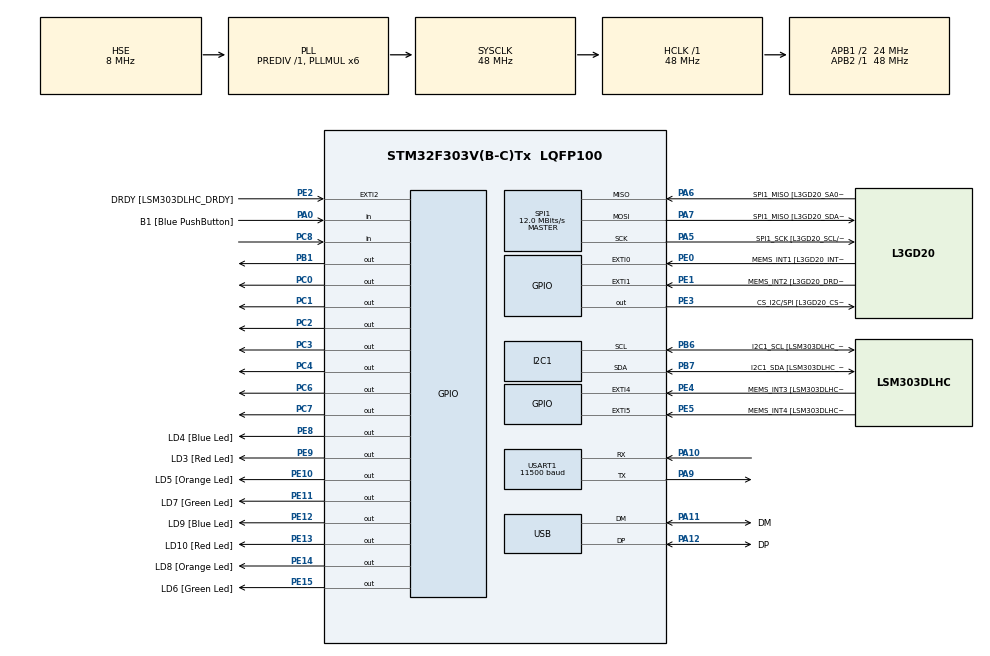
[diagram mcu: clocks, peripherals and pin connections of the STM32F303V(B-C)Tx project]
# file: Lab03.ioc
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I2C1.Timing=0x00201D2B
I2C1.Timing-I2C=0x2000090E
Mcu.Family=STM32F3
Mcu.Name=STM32F303V(B-C)Tx
Mcu.Package=LQFP100
NVIC.PriorityGroup=NVIC_PRIORITYGROUP_0
PA0.GPIO_Label=B1 [Blue PushButton]
PA0.Signal=GPIO_Input
PA10.Mode=Asynchronous
PA10.Signal=USART1_RX
PA11.GPIO_Label=DM
PA11.Mode=Device
PA11.Signal=USB_DM
PA12.GPIO_Label=DP
PA12.Mode=Device
PA12.Signal=USB_DP
PA13.GPIO_Label=SWDIO
PA13.Mode=Serial_Wire
PA13.Signal=SYS_JTMS-SWDIO
PA14.GPIO_Label=SWCLK
PA14.Mode=Serial_Wire
PA14.Signal=SYS_JTCK-SWCLK
PA5.GPIO_Label=SPI1_SCK [L3GD20_SCL/SPC]
PA5.Mode=Full_Duplex_Master
PA5.Signal=SPI1_SCK
PA6.GPIO_Label=SPI1_MISO [L3GD20_SA0/SDO]
PA6.Mode=Full_Duplex_Master
PA6.Signal=SPI1_MISO
PA7.GPIO_Label=SPI1_MISO [L3GD20_SDA/SDI/SDO]
PA7.Mode=Full_Duplex_Master
PA7.Signal=SPI1_MOSI
PA9.Mode=Asynchronous
PA9.Signal=USART1_TX
PB1.Signal=GPIO_Output
PB3.GPIO_Label=SWO
PB3.Signal=SYS_JTDO-TRACESWO
PB6.GPIO_Label=I2C1_SCL [LSM303DLHC_SCL]
PB6.GPIO_Pu=GPIO_PULLUP
PB6.Mode=I2C
PB6.Signal=I2C1_SCL
PB7.GPIO_Label=I2C1_SDA [LSM303DLHC_SDA]
PB7.GPIO_Pu=GPIO_PULLUP
PB7.Mode=I2C
PB7.Signal=I2C1_SDA
PC0.Signal=GPIO_Output
PC1.Signal=GPIO_Output
PC14-OSC32_IN.GPIO_Label=OSC32_IN
PC14-OSC32_IN.Signal=RCC_OSC32_IN
PC15-OSC32_OUT.GPIO_Label=OSC32_OUT
PC15-OSC32_OUT.Signal=RCC_OSC32_OUT
PC2.Signal=GPIO_Output
PC3.Signal=GPIO_Output
PC4.Signal=GPIO_Output
PC6.Signal=GPIO_Output
PC7.Signal=GPIO_Output
PC8.Signal=GPIO_Input
PE0.GPIO_Label=MEMS_INT1 [L3GD20_INT1]
PE0.GPIO_ModeDefaultEXTI=GPIO_MODE_EVT_RISING
PE0.Signal=GPXTI0
PE1.GPIO_Label=MEMS_INT2 [L3GD20_DRDY/INT2]
PE1.GPIO_ModeDefaultEXTI=GPIO_MODE_EVT_RISING
PE1.Signal=GPXTI1
PE10.GPIO_Label=LD5 [Orange Led]
PE10.Signal=GPIO_Output
PE11.GPIO_Label=LD7 [Green Led]
PE11.Signal=GPIO_Output
PE12.GPIO_Label=LD9 [Blue Led]
PE12.Signal=GPIO_Output
PE13.GPIO_Label=LD10 [Red Led]
PE13.Signal=GPIO_Output
PE14.GPIO_Label=LD8 [Orange Led]
PE14.Signal=GPIO_Output
PE15.GPIO_Label=LD6 [Green Led]
PE15.Signal=GPIO_Output
PE2.GPIO_Label=DRDY [LSM303DLHC_DRDY]
PE2.GPIO_ModeDefaultEXTI=GPIO_MODE_EVT_RISING
PE2.Signal=GPXTI2
PE3.GPIO_Label=CS_I2C/SPI [L3GD20_CS_I2C/SPI]
PE3.Signal=GPIO_Output
PE4.GPIO_Label=MEMS_INT3 [LSM303DLHC_INT1]
PE4.GPIO_ModeDefaultEXTI=GPIO_MODE_EVT_RISING
PE4.Signal=GPXTI4
PE5.GPIO_Label=MEMS_INT4 [LSM303DLHC_INT2]
PE5.GPIO_ModeDefaultEXTI=GPIO_MODE_EVT_RISING
PE5.Signal=GPXTI5
PE8.GPIO_Label=LD4 [Blue Led]
PE8.Signal=GPIO_Output
PE9.GPIO_Label=LD3 [Red Led]
PE9.Signal=GPIO_Output
PF0-OSC_IN.GPIO_Label=OSC_IN
PF0-OSC_IN.Mode=HSE-External-Clock-Source
PF0-OSC_IN.Signal=RCC_OSC_IN
PF1-OSC_OUT.GPIO_Label=OSC_OUT
PF1-OSC_OUT.Signal=RCC_OSC_OUT
ProjectManager.HeapSize=0x200
ProjectManager.StackSize=0x400
ProjectManager.TargetToolchain=CMake
RCC.AHBFreq_Value=48000000
RCC.APB1CLKDivider=RCC_HCLK_DIV2
RCC.APB1Freq_Value=24000000
RCC.APB1TimFreq_Value=48000000
RCC.APB2Freq_Value=48000000
RCC.APB2TimFreq_Value=48000000
RCC.CortexFreq_Value=48000000
RCC.HCLKFreq_Value=48000000
RCC.HSE_VALUE=8000000
RCC.HSI_VALUE=8000000
RCC.LSE_VALUE=32768
RCC.PLLMUL=RCC_PLL_MUL6
RCC.SYSCLKFreq_VALUE=48000000
RCC.SYSCLKSourceVirtual=RCC_SYSCLKSOURCE_PLLCLK
RCC.USBFreq_Value=48000000
SPI1.BaudRatePrescaler=SPI_BAUDRATEPRESCALER_4
SPI1.BaudRatePrescaler-Full_Duplex_Master=SPI_BAUDRATEPRESCALER_2
SPI1.CalculateBaudRate=12.0 MBits/s
SPI1.CalculateBaudRate-Full_Duplex_Master=24.0 MBits/s
SPI1.Direction=SPI_DIRECTION_2LINES
SPI1.Mode=SPI_MODE_MASTER
SPI1.Mode-Full_Duplex_Master=SPI_MODE_MASTER
SPI1.VirtualType=VM_MASTER
USART1.BaudRate=11500
USART1.VirtualMode-Asynchronous=VM_ASYNC
board=STM32F3DISCOVERY

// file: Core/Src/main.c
/* USER CODE BEGIN Header */
/**
  ******************************************************************************
  * @file           : main.c
  * @brief          : Main program body
  ******************************************************************************
  * @attention
  *
  * Copyright (c) 2026 STMicroelectronics.
  * All rights reserved.
  *
  * This software is licensed under terms that can be found in the LICENSE file
  * in the root directory of this software component.
  * If no LICENSE file comes with this software, it is provided AS-IS.
  *
  ******************************************************************************
  */
/* USER CODE END Header */
#include "main.h"
#include "stm32f303xc.h"
#include "stdlib.h"

I2C_HandleTypeDef hi2c1;

SPI_HandleTypeDef hspi1;

UART_HandleTypeDef huart1;

PCD_HandleTypeDef hpcd_USB_FS;

void SystemClock_Config(void);
static void MX_GPIO_Init(void);
static void MX_I2C1_Init(void);
static void MX_SPI1_Init(void);
static void MX_USB_PCD_Init(void);
static void MX_USART1_UART_Init(void);

/* USER CODE BEGIN 0 */
/* USER CODE BEGIN 0 */
/* USER CODE BEGIN 0 */
/* USER CODE BEGIN 0 */

/* USER CODE BEGIN 0 */

const uint8_t sevenSegPatterns[16] = {
    0x40, 0x79, 0x24, 0x30, 0x19, 0x12, 0x02, 0x78,
    0x00, 0x10, 0x08, 0x03, 0x46, 0x21, 0x06, 0x0E
};

GPIO_TypeDef* segmentPorts[7] = {
    GPIOC, GPIOC, GPIOC, GPIOC, GPIOB, GPIOC, GPIOC
};

uint16_t segmentPins[7] = {
    GPIO_PIN_3, GPIO_PIN_2, GPIO_PIN_7, GPIO_PIN_4, GPIO_PIN_1, GPIO_PIN_0, GPIO_PIN_1
};

void displayNumber(uint8_t num) {
    uint8_t pattern = sevenSegPatterns[num];

    for (int i = 0; i < 7; i++) {
        if (pattern & (1 << i)) {
            HAL_GPIO_WritePin(segmentPorts[i], segmentPins[i], GPIO_PIN_SET);   // OFF
        } else {
            HAL_GPIO_WritePin(segmentPorts[i], segmentPins[i], GPIO_PIN_RESET); // ON
        }
    }
}

/* USER CODE END 0 */
/* USER CODE END 0 */

/* USER CODE END 0 */

int main(void)
{

  /* MCU Configuration--------------------------------------------------------*/

  /* Reset of all peripherals, Initializes the Flash interface and the Systick. */
   HAL_Init();

  /* Configure the system clock */
  SystemClock_Config();

  /* Initialize all configured peripherals */
  MX_GPIO_Init();
  MX_I2C1_Init();
  MX_SPI1_Init();
  MX_USB_PCD_Init();
  MX_USART1_UART_Init();

  /* Infinite loop */
  /* USER CODE BEGIN WHILE */
//TASK 2
//int id[] = {1,0,2,5,8};
//int currentnumber = 0;
//TASK 3
//int currentnumber = 0;
//TASK 4
int currentnumber = 0;
  while (1)
  {
    /* USER CODE BEGIN 3 */
//TASK#1
    // for (int i = 0; i <= 15; i++)
    // {
    //     displayNumber(i);
    //     HAL_Delay(1000);
    // }
//TASK#2
// if (HAL_GPIO_ReadPin(GPIOA, GPIO_PIN_0) == GPIO_PIN_SET) {
//     displayNumber(id[currentnumber % 5]);
//     currentnumber++;
//     HAL_Delay(200);          // basic debounce - wait before checking again
//     //while (HAL_GPIO_ReadPin(GPIOA, GPIO_PIN_0) == GPIO_PIN_SET); // wait for release
// }
//TASK#3
//     if (HAL_GPIO_ReadPin(GPIOA, GPIO_PIN_0) == GPIO_PIN_SET) {
//         currentnumber++;
//         if (currentnumber > 15) {
//             currentnumber = 15; // wrap around to 0 after 15
//         }
//         displayNumber(currentnumber);
//         HAL_Delay(200); // basic debounce - wait before checking again
//     }

//     if (HAL_GPIO_ReadPin(GPIOC, GPIO_PIN_8) == GPIO_PIN_SET) {
//         currentnumber--;
//         if (currentnumber < 0) {
//             currentnumber = 0; // wrap around to 15 before 0
//         }
//         displayNumber(currentnumber);
//         HAL_Delay(200); // basic debounce - wait before checking again
//     }

    /* USER CODE BEGIN 3 */
//TASK#4
    if (HAL_GPIO_ReadPin(GPIOC, GPIO_PIN_8) == GPIO_PIN_SET) {

    currentnumber = (rand() % 6) + 1;
    displayNumber(currentnumber);
  }
  /* USER CODE END 3 */
}
}

void SystemClock_Config(void)
{
  RCC_OscInitTypeDef RCC_OscInitStruct = {0};
  RCC_ClkInitTypeDef RCC_ClkInitStruct = {0};
  RCC_PeriphCLKInitTypeDef PeriphClkInit = {0};

  /** Initializes the RCC Oscillators according to the specified parameters
  * in the RCC_OscInitTypeDef structure.
  */
  RCC_OscInitStruct.OscillatorType = RCC_OSCILLATORTYPE_HSI|RCC_OSCILLATORTYPE_HSE;
  RCC_OscInitStruct.HSEState = RCC_HSE_BYPASS;
  RCC_OscInitStruct.HSEPredivValue = RCC_HSE_PREDIV_DIV1;
  RCC_OscInitStruct.HSIState = RCC_HSI_ON;
  RCC_OscInitStruct.HSICalibrationValue = RCC_HSICALIBRATION_DEFAULT;
  RCC_OscInitStruct.PLL.PLLState = RCC_PLL_ON;
  RCC_OscInitStruct.PLL.PLLSource = RCC_PLLSOURCE_HSE;
  RCC_OscInitStruct.PLL.PLLMUL = RCC_PLL_MUL6;
  if (HAL_RCC_OscConfig(&RCC_OscInitStruct) != HAL_OK)
  {
    Error_Handler();
  }

  /** Initializes the CPU, AHB and APB buses clocks
  */
  RCC_ClkInitStruct.ClockType = RCC_CLOCKTYPE_HCLK|RCC_CLOCKTYPE_SYSCLK
                              |RCC_CLOCKTYPE_PCLK1|RCC_CLOCKTYPE_PCLK2;
  RCC_ClkInitStruct.SYSCLKSource = RCC_SYSCLKSOURCE_PLLCLK;
  RCC_ClkInitStruct.AHBCLKDivider = RCC_SYSCLK_DIV1;
  RCC_ClkInitStruct.APB1CLKDivider = RCC_HCLK_DIV2;
  RCC_ClkInitStruct.APB2CLKDivider = RCC_HCLK_DIV1;

  if (HAL_RCC_ClockConfig(&RCC_ClkInitStruct, FLASH_LATENCY_1) != HAL_OK)
  {
    Error_Handler();
  }
  PeriphClkInit.PeriphClockSelection = RCC_PERIPHCLK_USB|RCC_PERIPHCLK_USART1
                              |RCC_PERIPHCLK_I2C1;
  PeriphClkInit.Usart1ClockSelection = RCC_USART1CLKSOURCE_PCLK2;
  PeriphClkInit.I2c1ClockSelection = RCC_I2C1CLKSOURCE_HSI;
  PeriphClkInit.USBClockSelection = RCC_USBCLKSOURCE_PLL;
  if (HAL_RCCEx_PeriphCLKConfig(&PeriphClkInit) != HAL_OK)
  {
    Error_Handler();
  }
}

static void MX_I2C1_Init(void)
{

  hi2c1.Instance = I2C1;
  hi2c1.Init.Timing = 0x00201D2B;
  hi2c1.Init.OwnAddress1 = 0;
  hi2c1.Init.AddressingMode = I2C_ADDRESSINGMODE_7BIT;
  hi2c1.Init.DualAddressMode = I2C_DUALADDRESS_DISABLE;
  hi2c1.Init.OwnAddress2 = 0;
  hi2c1.Init.OwnAddress2Masks = I2C_OA2_NOMASK;
  hi2c1.Init.GeneralCallMode = I2C_GENERALCALL_DISABLE;
  hi2c1.Init.NoStretchMode = I2C_NOSTRETCH_DISABLE;
  if (HAL_I2C_Init(&hi2c1) != HAL_OK)
  {
    Error_Handler();
  }

  /** Configure Analogue filter
  */
  if (HAL_I2CEx_ConfigAnalogFilter(&hi2c1, I2C_ANALOGFILTER_ENABLE) != HAL_OK)
  {
    Error_Handler();
  }

  /** Configure Digital filter
  */
  if (HAL_I2CEx_ConfigDigitalFilter(&hi2c1, 0) != HAL_OK)
  {
    Error_Handler();
  }

}

static void MX_SPI1_Init(void)
{

  /* SPI1 parameter configuration*/
  hspi1.Instance = SPI1;
  hspi1.Init.Mode = SPI_MODE_MASTER;
  hspi1.Init.Direction = SPI_DIRECTION_2LINES;
  hspi1.Init.DataSize = SPI_DATASIZE_4BIT;
  hspi1.Init.CLKPolarity = SPI_POLARITY_LOW;
  hspi1.Init.CLKPhase = SPI_PHASE_1EDGE;
  hspi1.Init.NSS = SPI_NSS_SOFT;
  hspi1.Init.BaudRatePrescaler = SPI_BAUDRATEPRESCALER_4;
  hspi1.Init.FirstBit = SPI_FIRSTBIT_MSB;
  hspi1.Init.TIMode = SPI_TIMODE_DISABLE;
  hspi1.Init.CRCCalculation = SPI_CRCCALCULATION_DISABLE;
  hspi1.Init.CRCPolynomial = 7;
  hspi1.Init.CRCLength = SPI_CRC_LENGTH_DATASIZE;
  hspi1.Init.NSSPMode = SPI_NSS_PULSE_ENABLE;
  if (HAL_SPI_Init(&hspi1) != HAL_OK)
  {
    Error_Handler();
  }

}

static void MX_USART1_UART_Init(void)
{

  huart1.Instance = USART1;
  huart1.Init.BaudRate = 11500;
  huart1.Init.WordLength = UART_WORDLENGTH_8B;
  huart1.Init.StopBits = UART_STOPBITS_1;
  huart1.Init.Parity = UART_PARITY_NONE;
  huart1.Init.Mode = UART_MODE_TX_RX;
  huart1.Init.HwFlowCtl = UART_HWCONTROL_NONE;
  huart1.Init.OverSampling = UART_OVERSAMPLING_16;
  huart1.Init.OneBitSampling = UART_ONE_BIT_SAMPLE_DISABLE;
  huart1.AdvancedInit.AdvFeatureInit = UART_ADVFEATURE_NO_INIT;
  if (HAL_UART_Init(&huart1) != HAL_OK)
  {
    Error_Handler();
  }

}

static void MX_USB_PCD_Init(void)
{

  hpcd_USB_FS.Instance = USB;
  hpcd_USB_FS.Init.dev_endpoints = 8;
  hpcd_USB_FS.Init.speed = PCD_SPEED_FULL;
  hpcd_USB_FS.Init.phy_itface = PCD_PHY_EMBEDDED;
  hpcd_USB_FS.Init.low_power_enable = DISABLE;
  hpcd_USB_FS.Init.battery_charging_enable = DISABLE;
  if (HAL_PCD_Init(&hpcd_USB_FS) != HAL_OK)
  {
    Error_Handler();
  }

}

static void MX_GPIO_Init(void)
{
  GPIO_InitTypeDef GPIO_InitStruct = {0};

  /* GPIO Ports Clock Enable */
  __HAL_RCC_GPIOE_CLK_ENABLE();
  __HAL_RCC_GPIOC_CLK_ENABLE();
  __HAL_RCC_GPIOF_CLK_ENABLE();
  __HAL_RCC_GPIOA_CLK_ENABLE();
  __HAL_RCC_GPIOB_CLK_ENABLE();

  /*Configure GPIO pin Output Level */
  HAL_GPIO_WritePin(GPIOE, CS_I2C_SPI_Pin|LD4_Pin|LD3_Pin|LD5_Pin
                          |LD7_Pin|LD9_Pin|LD10_Pin|LD8_Pin
                          |LD6_Pin, GPIO_PIN_RESET);

  /*Configure GPIO pin Output Level */
  HAL_GPIO_WritePin(GPIOC, GPIO_PIN_0|GPIO_PIN_1|GPIO_PIN_2|GPIO_PIN_3
                          |GPIO_PIN_4|GPIO_PIN_6|GPIO_PIN_7, GPIO_PIN_RESET);

  /*Configure GPIO pin Output Level */
  HAL_GPIO_WritePin(GPIOB, GPIO_PIN_1, GPIO_PIN_RESET);

  /*Configure GPIO pins : DRDY_Pin MEMS_INT3_Pin MEMS_INT4_Pin MEMS_INT1_Pin
                           MEMS_INT2_Pin */
  GPIO_InitStruct.Pin = DRDY_Pin|MEMS_INT3_Pin|MEMS_INT4_Pin|MEMS_INT1_Pin
                          |MEMS_INT2_Pin;
  GPIO_InitStruct.Mode = GPIO_MODE_EVT_RISING;
  GPIO_InitStruct.Pull = GPIO_NOPULL;
  HAL_GPIO_Init(GPIOE, &GPIO_InitStruct);

  /*Configure GPIO pins : CS_I2C_SPI_Pin LD4_Pin LD3_Pin LD5_Pin
                           LD7_Pin LD9_Pin LD10_Pin LD8_Pin
                           LD6_Pin */
  GPIO_InitStruct.Pin = CS_I2C_SPI_Pin|LD4_Pin|LD3_Pin|LD5_Pin
                          |LD7_Pin|LD9_Pin|LD10_Pin|LD8_Pin
                          |LD6_Pin;
  GPIO_InitStruct.Mode = GPIO_MODE_OUTPUT_PP;
  GPIO_InitStruct.Pull = GPIO_NOPULL;
  GPIO_InitStruct.Speed = GPIO_SPEED_FREQ_LOW;
  HAL_GPIO_Init(GPIOE, &GPIO_InitStruct);

  /*Configure GPIO pins : PC0 PC1 PC2 PC3
                           PC4 PC6 PC7 */
  GPIO_InitStruct.Pin = GPIO_PIN_0|GPIO_PIN_1|GPIO_PIN_2|GPIO_PIN_3
                          |GPIO_PIN_4|GPIO_PIN_6|GPIO_PIN_7;
  GPIO_InitStruct.Mode = GPIO_MODE_OUTPUT_PP;
  GPIO_InitStruct.Pull = GPIO_NOPULL;
  GPIO_InitStruct.Speed = GPIO_SPEED_FREQ_LOW;
  HAL_GPIO_Init(GPIOC, &GPIO_InitStruct);

  /*Configure GPIO pin : B1_Pin */
  GPIO_InitStruct.Pin = B1_Pin;
  GPIO_InitStruct.Mode = GPIO_MODE_INPUT;
  GPIO_InitStruct.Pull = GPIO_NOPULL;
  HAL_GPIO_Init(B1_GPIO_Port, &GPIO_InitStruct);

  /*Configure GPIO pin : PB1 */
  GPIO_InitStruct.Pin = GPIO_PIN_1;
  GPIO_InitStruct.Mode = GPIO_MODE_OUTPUT_PP;
  GPIO_InitStruct.Pull = GPIO_NOPULL;
  GPIO_InitStruct.Speed = GPIO_SPEED_FREQ_LOW;
  HAL_GPIO_Init(GPIOB, &GPIO_InitStruct);

  /*Configure GPIO pin : PC8 */
  GPIO_InitStruct.Pin = GPIO_PIN_8;
  GPIO_InitStruct.Mode = GPIO_MODE_INPUT;
  GPIO_InitStruct.Pull = GPIO_PULLDOWN;
  HAL_GPIO_Init(GPIOC, &GPIO_InitStruct);

}

void Error_Handler(void)
{
  __disable_irq();
  while (1)
  {
  }
}
